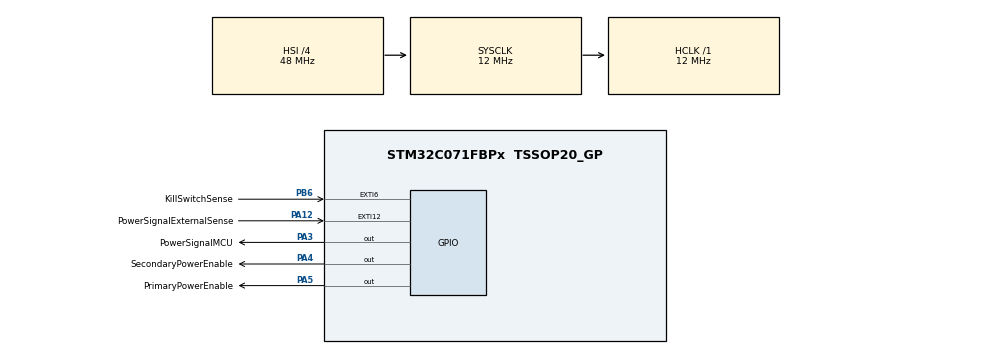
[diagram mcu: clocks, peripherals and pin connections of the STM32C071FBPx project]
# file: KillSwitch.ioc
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Mcu.Family=STM32C0
Mcu.Name=STM32C071FBPx
Mcu.Package=TSSOP20_GP
NVIC.EXTI4_15_IRQn=true\:0\:0\:false\:false\:true\:true\:true\:true
NVIC.TIM2_IRQn=true\:0\:0\:false\:false\:true\:true\:true\:true
PA12\ [PA10].GPIO_Label=PowerSignalExternalSense
PA12\ [PA10].GPIO_ModeDefaultEXTI=GPIO_MODE_IT_RISING_FALLING
PA12\ [PA10].GPIO_PuPd=GPIO_PULLUP
PA12\ [PA10].Signal=GPXTI12
PA13.Mode=Serial_Wire
PA13.Signal=DEBUG_SWDIO
PA14-BOOT0.Mode=Serial_Wire
PA14-BOOT0.Signal=DEBUG_SWCLK
PA14-BOOT0__PA15.StandardMode=true
PA3.GPIO_Label=PowerSignalMCU
PA3.Signal=GPIO_Output
PA4.GPIO_Label=SecondaryPowerEnable
PA4.Signal=GPIO_Output
PA5.GPIO_Label=PrimaryPowerEnable
PA5.Signal=GPIO_Output
PB3__PB4__PB5__PB6.StandardMode=true
PB6.GPIO_Label=KillSwitchSense
PB6.GPIO_ModeDefaultEXTI=GPIO_MODE_IT_RISING_FALLING
PB6.GPIO_PuPd=GPIO_PULLUP
PB6.Signal=GPXTI6
PB7__PB8.StandardMode=true
ProjectManager.HeapSize=0x200
ProjectManager.StackSize=0x400
ProjectManager.TargetToolchain=CMake
RCC.ADCFreq_Value=12000000
RCC.AHBFreq_Value=12000000
RCC.CortexFreq_Value=12000000
RCC.EXTERNAL_CLOCK_VALUE=12288000
RCC.HCLKFreq_Value=12000000
RCC.HSE_VALUE=8000000
RCC.HSI48_VALUE=48000000
RCC.HSI_VALUE=48000000
RCC.LSE_VALUE=32768
RCC.SYSCLKFreq_VALUE=12000000
TIM2.CounterMode=TIM_COUNTERMODE_DOWN
TIM2.Prescaler=12-1
TIM2.TIM_MasterOutputTrigger=TIM_TRGO_UPDATE
VP_TIM2_VS_ClockSourceINT.Mode=Internal
board=custom

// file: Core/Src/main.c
/* USER CODE BEGIN Header */
/**
 ******************************************************************************
 * @file           : main.c
 * @brief          : Main program body
 ******************************************************************************
 * @attention
 *
 * Copyright (c) 2026 STMicroelectronics.
 * All rights reserved.
 *
 * This software is licensed under terms that can be found in the LICENSE file
 * in the root directory of this software component.
 * If no LICENSE file comes with this software, it is provided AS-IS.
 *
 ******************************************************************************
 */
/* USER CODE END Header */
#include "main.h"

#include "gpio.h"
#include "tim.h"

/* USER CODE BEGIN Includes */
#include <stdbool.h>
#include <stdint.h>
/* USER CODE END Includes */

/* USER CODE BEGIN PTD */

typedef enum PowerSignal
{
    ON = GPIO_PIN_SET,
    OFF = GPIO_PIN_RESET
} PowerSignal;
/* USER CODE END PTD */

/* USER CODE BEGIN PV */

// delay in microseconds until primary output is turned off
const uint32_t delayUntilShutDown = 1000 * 1000 * 2;  // 2 seconds

const bool isPowerEnableSwitchMomentary = true;

/* USER CODE END PV */

void SystemClock_Config(void);

/* USER CODE BEGIN 0 */

bool powerOffTriggered = false;
bool ready = false;

void setMCUPower(PowerSignal state)
{
    HAL_GPIO_WritePin(
        PowerSignalMCU_GPIO_Port, PowerSignalMCU_Pin, (GPIO_PinState)state
    );
}

void setPrimaryOutput(PowerSignal state)
{
    HAL_GPIO_WritePin(
        PrimaryPowerEnable_GPIO_Port,
        PrimaryPowerEnable_Pin,
        (GPIO_PinState)state
    );
}

void setSecondaryOutput(PowerSignal state)
{
    HAL_GPIO_WritePin(
        SecondaryPowerEnable_GPIO_Port,
        SecondaryPowerEnable_Pin,
        (GPIO_PinState)state
    );
}

PowerSignal getKillSwitchSignal(void)
{
    return HAL_GPIO_ReadPin(KillSwitchSense_GPIO_Port, KillSwitchSense_Pin)
            == GPIO_PIN_SET
        ? OFF
        : ON;
}

void startPowerOffSequence(void)
{
    // already powering off, ignoring this call..
    if (!ready || powerOffTriggered) return;

    powerOffTriggered = true;

    // signal external system that we are powering off
    setSecondaryOutput(ON);

    // start power off countdown
    HAL_TIM_Base_Start_IT(&htim2);
}

void onShutdownPeriodElapsed(void)
{
    setPrimaryOutput(OFF);
    setMCUPower(OFF);
    setSecondaryOutput(OFF);
}

void HAL_TIM_PeriodElapsedCallback(TIM_HandleTypeDef* htim)
{
    // shutdown period elapsed
    if (htim->Instance == TIM2)
    {
        onShutdownPeriodElapsed();
    }
}

void onKillSwitchOn(void) { startPowerOffSequence(); }

void onPowerSwitchOff(void) { startPowerOffSequence(); }

// since buttons are externally pulled-up,
// falling edge triggers button state - ON
void HAL_GPIO_EXTI_Falling_Callback(uint16_t pin)
{
    switch (pin)
    {
        case KillSwitchSense_Pin:
            onKillSwitchOn();
            break;
    }
}

// since buttons are externally pulled-up,
// rising edge restores default button state - OFF
void HAL_GPIO_EXTI_Rising_Callback(uint16_t pin)
{
    switch (pin)
    {
        case PowerSignalExternalSense_Pin:
            onPowerSwitchOff();
            break;
    }
}

/* USER CODE END 0 */

int main(void)
{

    /* MCU
     * Configuration--------------------------------------------------------*/

    /* Reset of all peripherals, Initializes the Flash interface and the
     * Systick. */
    HAL_Init();

    /* Configure the system clock */
    SystemClock_Config();

    /* Initialize all configured peripherals */
    MX_GPIO_Init();
    MX_TIM2_Init();
    /* USER CODE BEGIN 2 */

    __HAL_TIM_SET_COUNTER(&htim2, delayUntilShutDown);

    // allow RC network to settle before reading switch states
    HAL_Delay(100);

    // cannot enable primary output while kill switch is ON
    // dry spin until it is turned OFF
    while (getKillSwitchSignal() == ON)
    {
    }

    // -------------------------------------------------------
    // at this point we are good to go
    // start power on sequence

    ready = true;

    // keep board powered by signal from MCU
    setMCUPower(ON);
    setPrimaryOutput(ON);

    /* USER CODE END 2 */

    /* Infinite loop */
    while (1)
    {

    }
}

void SystemClock_Config(void)
{
    RCC_OscInitTypeDef RCC_OscInitStruct = {0};
    RCC_ClkInitTypeDef RCC_ClkInitStruct = {0};

    __HAL_FLASH_SET_LATENCY(FLASH_LATENCY_0);

    /** Initializes the RCC Oscillators according to the specified parameters
     * in the RCC_OscInitTypeDef structure.
     */
    RCC_OscInitStruct.OscillatorType = RCC_OSCILLATORTYPE_HSI;
    RCC_OscInitStruct.HSIState = RCC_HSI_ON;
    RCC_OscInitStruct.HSIDiv = RCC_HSI_DIV4;
    RCC_OscInitStruct.HSICalibrationValue = RCC_HSICALIBRATION_DEFAULT;
    if (HAL_RCC_OscConfig(&RCC_OscInitStruct) != HAL_OK)
    {
        Error_Handler();
    }

    /** Initializes the CPU, AHB and APB buses clocks
     */
    RCC_ClkInitStruct.ClockType
        = RCC_CLOCKTYPE_HCLK | RCC_CLOCKTYPE_SYSCLK | RCC_CLOCKTYPE_PCLK1;
    RCC_ClkInitStruct.SYSCLKSource = RCC_SYSCLKSOURCE_HSI;
    RCC_ClkInitStruct.SYSCLKDivider = RCC_SYSCLK_DIV1;
    RCC_ClkInitStruct.AHBCLKDivider = RCC_HCLK_DIV1;
    RCC_ClkInitStruct.APB1CLKDivider = RCC_APB1_DIV1;

    if (HAL_RCC_ClockConfig(&RCC_ClkInitStruct, FLASH_LATENCY_0) != HAL_OK)
    {
        Error_Handler();
    }
}

void Error_Handler(void)
{
    /* USER CODE BEGIN Error_Handler_Debug */
    /* User can add his own implementation to report the HAL error return state
     */
    __disable_irq();
    while (1)
    {
    }
    /* USER CODE END Error_Handler_Debug */
}
#ifdef USE_FULL_ASSERT
/**
 * @brief  Reports the name of the source file and the source line number
 *         where the assert_param error has occurred.
 * @param  file: pointer to the source file name
 * @param  line: assert_param error line source number
 * @retval None
 */
void assert_failed(uint8_t* file, uint32_t line)
{
    /* USER CODE BEGIN 6 */
    /* User can add his own implementation to report the file name and line
       number, ex: printf("Wrong parameters value: file %s on line %d\r\n",
       file, line) */
    /* USER CODE END 6 */
}
#endif /* USE_FULL_ASSERT */
